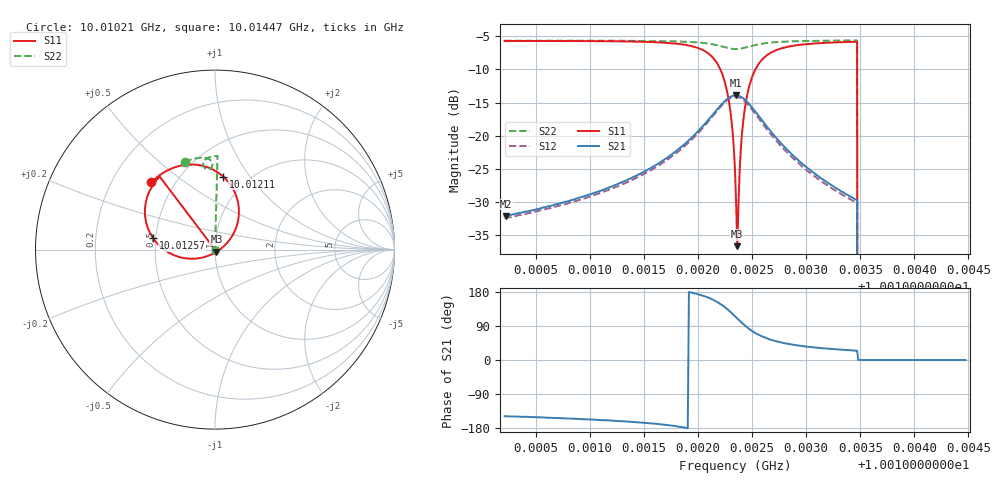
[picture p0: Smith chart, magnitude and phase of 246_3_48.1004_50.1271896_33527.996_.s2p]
#  HZ  S  RI  R  50.00
! Rohde & Schwarz Vector Network Analyzer
! Rohde-Schwarz,ZNB20-2Port,1311601062101988,3.16
! Created: UTC 12/23/2023, 3:59:17 AM
! freq[Hz]  re:S11  im:S11  re:S21  im:S21  re:S12  im:S12  re:S22  im:S22
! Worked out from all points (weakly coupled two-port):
!   401 points, 10.01021 GHz to 10.01447 GHz, reference 50 ohm
!   highest |S21| = -13.92 dB at 10.01235 GHz (marker M1); lowest = -32.1 dB at 10.01022 GHz (marker M2)
!   lowest |S11| = -36.6 dB at 10.01236 GHz (marker M3), VSWR 1.03, Z = 50.8 - j1.26 ohm
!   |S11| at or under -10 dB: 10.01221 GHz to 10.01253 GHz (325.1 kHz wide, 0.00325 % of centre); 10.01347 GHz to end of sweep
!   |S22| runs from - to -5.7 dB; largest |S21 - S12| = 0.0096
!   S11 on the Smith chart (normalised r, x): 10.01021 GHz: 0.37, +0.38; 10.01211 GHz: 0.78, +0.76; 10.01257 GHz: 0.48, +0.07; 10.01447 GHz: 1.00, +0.00
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1.001021e10  -0.3545 0.3761  -0.0212 -0.0131  -0.0195 -0.0137  -0.169 0.4907
1.0010221e10  -0.3537 0.3768  -0.0212 -0.013  -0.0197 -0.0137  -0.1684 0.4908
1.0010924e10  -0.2982 0.4214  -0.0316 -0.0139  -0.0296 -0.0151  -0.1222 0.5046
1.0011638e10  -0.1882 0.4683  -0.0612 -0.0117  -0.0582 -0.0142  -0.0682 0.5118
1.0012107e10  0.0463 0.4063  -0.1295 0.039  -0.1279 0.0313  -0.0197 0.4922
1.0012203e10  0.1188 0.297  -0.1424 0.0875  -0.1435 0.0781  -0.0139 0.4744
1.0012267e10  0.1308 0.1746  -0.1334 0.133  -0.1364 0.1241  -0.0182 0.4595
1.0012309e10  0.0993 0.0821  -0.111 0.164  -0.1153 0.1562  -0.0265 0.4511
1.0012341e10  0.0513 0.0206  -0.0865 0.1816  -0.0914 0.1744  -0.0353 0.4478
1.0012352e10  0.0301 0.00266  -0.0769 0.1861  -0.0822 0.1788  -0.0384 0.4475
1.0012363e10  0.00804 -0.0124  -0.0671 0.1893  -0.0729 0.1823  -0.0417 0.4475
1.0012373e10  -0.0155 -0.0253  -0.057 0.1918  -0.0627 0.1847  -0.0447 0.4479
1.0012405e10  -0.0907 -0.048  -0.0278 0.1924  -0.0327 0.1862  -0.0534 0.4512
1.0012437e10  -0.1625 -0.0487  -0.000618 0.1857  -0.00539 0.1798  -0.0601 0.457
1.001249e10  -0.2629 -0.0138  0.034 0.1633  0.0271 0.1584  -0.0657 0.4691
1.0012565e10  -0.3458 0.0648  0.0569 0.1275  0.0507 0.1236  -0.065 0.4845
1.0012778e10  -0.389 0.2395  0.06 0.0612  0.0547 0.0606  -0.0452 0.5081
1.0013055e10  -0.3572 0.3407  0.0445 0.0299  0.041 0.0304  -0.019 0.5178
1.001345e10  -0.3101 0.4042  0.0302 0.0139  0.0281 0.0149  0.0126 0.5214
1.0013503e10  0 0  0 0  0 0  0 0
1.0013769e10  0 0  0 0  0 0  0 0
1.0014473e10  0 0  0 0  0 0  0 0
